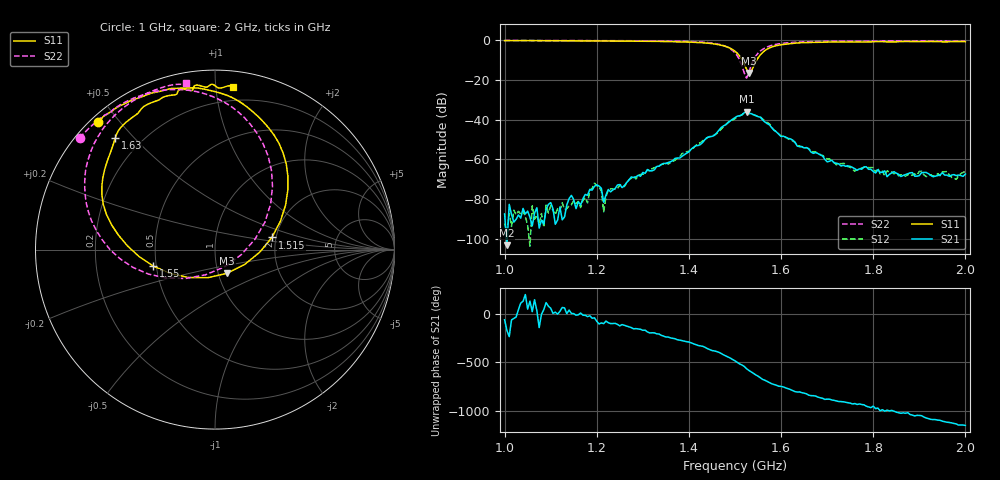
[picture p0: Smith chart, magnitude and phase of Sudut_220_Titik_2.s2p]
# Hz S RI R 50
! CMT, C1220, 16058040, 17.2.0/1
! Date: 14/08/2018 12:48:14
! Data: Format (Calibration Info)
! Freq  S11: Re/Im (F2)  S21: Re/Im (F2)  S12: Re/Im (F2)  S22: Re/Im (F2)
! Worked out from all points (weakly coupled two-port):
!   201 points, 1 GHz to 2 GHz, reference 50 ohm
!   highest |S21| = -36.08 dB at 1.525 GHz (marker M1); lowest = -103.2 dB at 1.005 GHz (marker M2)
!   lowest |S11| = -16.6 dB at 1.53 GHz (marker M3), VSWR 1.35, Z = 55.2 - j14.9 ohm
!   |S11| at or under -10 dB: 1.515 GHz to 1.547 GHz (31.95 MHz wide, 2.09 % of centre)
!   |S22| runs from -19.2 to -0.2 dB; largest |S21 - S12| = 0.00066
!   S11 on the Smith chart (normalised r, x): 1 GHz: 0.02, +0.44; 1.515 GHz: 1.90, +0.29; 1.55 GHz: 0.48, -0.10; 1.63 GHz: 0.11, +0.44; 2 GHz: 0.10, +1.11
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1e9  -0.6518 0.7133  2.03e-05 -3.69e-05  8.74e-06 2.29e-05  -0.7538 0.6214
1.005e9  -0.6448 0.7184  -6.82e-06 -8.85e-07  -2.97e-06 -1.43e-05  -0.7502 0.6257
1.17e9  -0.4816 0.8241  9.86e-05 -2.51e-05  9.19e-05 -8.62e-06  -0.6183 0.7468
1.195e9  -0.4451 0.8395  0.000158 -0.000137  0.000137 -0.00021  -0.5896 0.7598
1.21e9  -0.4299 0.8433  -1.37e-05 -0.000184  -5.73e-05 -0.000149  -0.5808 0.7642
1.215e9  -0.4242 0.8456  -1.58e-05 -8.13e-05  -1.37e-05 -4.53e-05  -0.5778 0.7686
1.225e9  -0.409 0.8508  -3.78e-06 -0.000173  3.2e-05 -0.000163  -0.5688 0.7791
1.335e9  -0.2193 0.8981  -0.00059 0.000319  -0.000524 0.000422  -0.404 0.8617
1.45e9  0.1803 0.7931  0.00355 -0.00125  0.00359 -0.00151  0.0192 0.8378
1.5e9  0.4061 0.3339  -0.00655 -0.00897  -0.00618 -0.0085  0.3204 0.3516
1.515e9  0.3171 0.0679  -0.0128 -0.00254  -0.0128 -0.00288  0.2219 0.0567
1.525e9  0.1656 -0.0826  -0.014 0.00713  -0.0142 0.00707  0.0527 -0.0965
1.53e9  0.0677 -0.1318  -0.01 0.00999  -0.0101 0.01  -0.0546 -0.1409
1.55e9  -0.3435 -0.0921  0.00287 0.0115  0.00242 0.0116  -0.4564 -0.0995
1.58e9  -0.6223 0.2517  0.00615 -0.000382  0.00639 -0.000693  -0.7056 0.2116
1.63e9  -0.5563 0.6214  0.000306 -0.00269  0.000414 -0.00262  -0.6945 0.5388
1.67e9  -0.4475 0.7456  -0.000828 -0.00114  -0.000894 -0.00123  -0.6276 0.6676
1.76e9  -0.2669 0.8564  -0.000512 0.000265  -0.000437 0.000249  -0.4864 0.8081
1.835e9  -0.1362 0.887  9.66e-05 0.000404  5.91e-05 0.000477  -0.3815 0.8696
1.96e9  0.0357 0.9007  0.000303 -0.000258  0.000318 -0.000372  -0.2043 0.9212
1.98e9  0.0735 0.9124  0.000208 -0.000326  0.000176 -0.000257  -0.1835 0.9213
2e9  0.1013 0.9063  0.000117 -0.000408  8.04e-05 -0.000488  -0.1595 0.93
